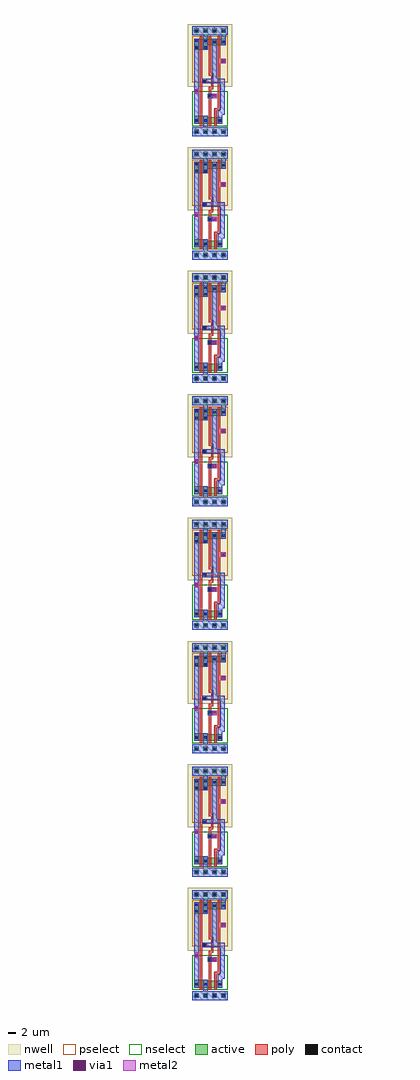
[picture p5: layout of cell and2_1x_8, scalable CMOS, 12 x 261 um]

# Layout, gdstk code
import gdstk
lib = gdstk.Library(unit=1e-6, precision=1e-09)
def R(c, l, rs):  # rectangles x0, y0, x1, y1
    for r in rs: c.add(gdstk.rectangle(r[:2], r[2:], *l))
def A(c, l, x, y, w, h, nx, ny, dx, dy):  # array of equal rectangles
    R(c, l, [(x+i*dx, y+j*dy, x+i*dx+w, y+j*dy+h) for i in range(nx) for j in range(ny)])
def P(c, l, *ps):  # polygons
    for p in ps: c.add(gdstk.Polygon(p, *l))
contact = (25, 0)
nwell = (42, 0)
active = (43, 0)
pselect = (44, 0)
nselect = (45, 0)
poly = (46, 0)
metal1 = (49, 0)
via1 = (50, 0)
metal2 = (51, 0)

and2_1x = lib.new_cell('and2_1x')
A(and2_1x, contact, 0.9, -0.3, 0.6, 0.6, 4, 2, 2.4, 27)
R(and2_1x, contact, [(0.9,2.7,1.5,3.3), (3.3,2.7,3.9,3.3), (7.2,2.7,7.8,3.3), (4.5,9.3,5.1,9.9), (3,13.2,3.6,13.8), (8.1,18.6,8.7,19.2), (0.9,22.2,1.5,22.8), (3.3,22.2,3.9,22.8), (5.7,23.7,6.3,24.3), (8.1,23.7,8.7,24.3), (0.9,24,1.5,24.6), (3.3,24,3.9,24.6)])
R(and2_1x, nwell, [(-1.2,12,10.8,28.8)])
A(and2_1x, active, 0.6, -0.6, 1.2, 1.2, 4, 2, 2.4, 27)
P(and2_1x, active, [(9,24.9),(0.6,24.9),(0.6,21.9),(4.2,21.9),(4.2,23.1),(9,23.1)],
  [(8.1,3.9),(4.2,3.9),(4.2,4.2),(0.6,4.2),(0.6,2.1),(8.1,2.1)])
R(and2_1x, pselect, [(0,-1.2,9.6,1.2), (0,13.2,9.6,25.5)])
R(and2_1x, nselect, [(0,1.5,9.6,10.8), (0,25.8,9.6,28.2)])
P(and2_1x, poly, [(3.9,14.1),(2.7,14.1),(2.7,25.5),(2.1,25.5),(2.1,1.5),(2.7,1.5),(2.7,12.9),(3.9,12.9)],
  [(5.7,15.6),(5.1,15.6),(5.1,25.5),(4.5,25.5),(4.5,15),(5.1,15),(5.1,12),(4.5,12),(4.5,10.2),(4.2,10.2),(4.2,9),(4.5,9),(4.5,1.5),(5.1,1.5),(5.1,9),(5.4,9),(5.4,10.2),(5.1,10.2),(5.1,11.4),(5.7,11.4)],
  [(9,19.5),(7.5,19.5),(7.5,25.5),(6.9,25.5),(6.9,6.3),(6,6.3),(6,1.5),(6.6,1.5),(6.6,5.7),(7.5,5.7),(7.5,18.3),(9,18.3)])
R(and2_1x, metal1, [(0,-1.2,9.6,1.2), (0.6,2.1,1.8,24.9), (4.2,9,6.6,10.2), (7.8,18.3,9,19.5), (0,25.8,9.6,28.2)])
P(and2_1x, metal1, [(8.7,14.1),(6.6,14.1),(6.6,24.9),(5.4,24.9),(5.4,14.1),(2.7,14.1),(2.7,12.9),(7.5,12.9),(7.5,5.7),(6.9,5.7),(6.9,2.1),(8.1,2.1),(8.1,4.5),(8.7,4.5)],
  [(9.6,28.2),(0,28.2),(0,25.8),(3,25.8),(3,21.9),(4.2,21.9),(4.2,25.8),(7.8,25.8),(7.8,23.1),(9,23.1),(9,25.8),(9.6,25.8)],
  [(9.6,1.2),(4.2,1.2),(4.2,4.2),(3,4.2),(3,1.2),(0,1.2),(0,-1.2),(9.6,-1.2)])
R(and2_1x, via1, [(5.7,9.3,6.3,9.9), (0.9,10.5,1.5,11.1), (8.1,18.6,8.7,19.2)])
R(and2_1x, metal2, [(5.4,9,6.6,10.2), (0.6,10.2,1.8,11.4), (7.8,18.3,9,19.5)])

and2_1x_8 = lib.new_cell('and2_1x_8')
R(and2_1x_8, metal1, [(1.2,0,10.8,2.4), (1.2,27,10.8,29.4), (1.2,33,10.8,35.4), (1.2,60,10.8,62.4), (1.2,66,10.8,68.4), (1.2,93,10.8,95.4), (1.2,99,10.8,101.4), (1.2,126,10.8,128.4), (1.2,132,10.8,134.4), (1.2,159,10.8,161.4), (1.2,165,10.8,167.4), (1.2,192,10.8,194.4), (1.2,198,10.8,200.4), (1.2,225,10.8,227.4), (1.2,231,10.8,233.4), (1.2,258,10.8,260.4)])
A(and2_1x_8, metal2, 6.6, 10.2, 1.2, 1.2, 1, 8, 0, 33)
A(and2_1x_8, metal2, 1.8, 11.4, 1.2, 1.2, 1, 8, 0, 33)
A(and2_1x_8, metal2, 9, 19.5, 1.2, 1.2, 1, 8, 0, 33)
r = gdstk.Reference(and2_1x, (1.2,1.2)); r.repetition = gdstk.Repetition(1, 8, v1=(12,0), v2=(0,33)); and2_1x_8.add(r)

lib.write_gds('and2_1x_8.gds')
